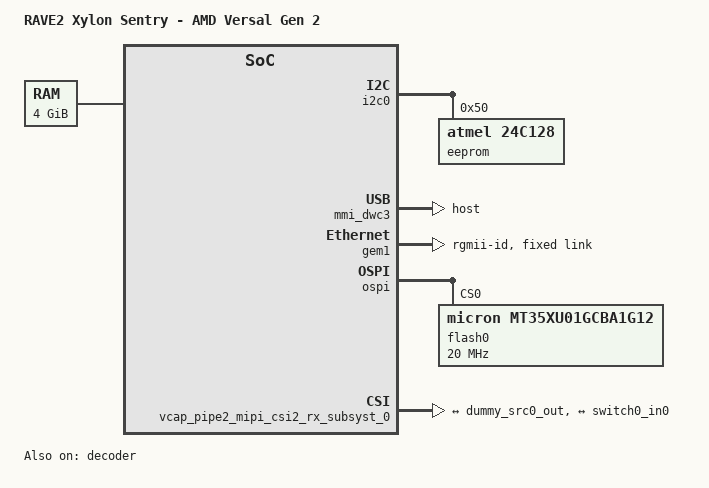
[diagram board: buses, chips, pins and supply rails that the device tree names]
// Copyright © Advanced Micro Devices, Inc., or its affiliates. All rights reserved.
// Copyright (C) 2015-2024 Texas Instruments Incorporated - https://www.ti.com/
// SPDX-License-Identifier: MIT AND BSD-2-Clause
// Contributors: LT
// Maintainer: LT
// DP83867 constants copied from Linux include/dt-bindings/net/ti-dp83867.h
// (GPL-2.0-only OR MIT); MIT selected. GPIO_ACTIVE_LOW copied from
// include/dt-bindings/gpio/gpio.h (GPL-2.0 OR BSD-2-Clause); BSD-2-Clause selected.
#define DP83867_RGMIIDCTL_250_PS        0x0
#define DP83867_RGMIIDCTL_500_PS        0x1
#define DP83867_RGMIIDCTL_750_PS        0x2
#define DP83867_RGMIIDCTL_1_NS          0x3
#define DP83867_RGMIIDCTL_1_25_NS       0x4
#define DP83867_RGMIIDCTL_1_50_NS       0x5
#define DP83867_RGMIIDCTL_1_75_NS       0x6
#define DP83867_RGMIIDCTL_2_00_NS       0x7
#define DP83867_RGMIIDCTL_2_25_NS       0x8
#define DP83867_RGMIIDCTL_2_50_NS       0x9
#define DP83867_RGMIIDCTL_2_75_NS       0xa
#define DP83867_RGMIIDCTL_3_00_NS       0xb
#define DP83867_RGMIIDCTL_3_25_NS       0xc
#define DP83867_RGMIIDCTL_3_50_NS       0xd
#define DP83867_RGMIIDCTL_3_75_NS       0xe
#define DP83867_RGMIIDCTL_4_00_NS       0xf

#define   DP83867_PHYCR_FIFO_DEPTH_4_B_NIB  0x01
#define   GPIO_ACTIVE_LOW 1



/ {
        model = "RAVE2 Xylon Sentry - AMD Versal Gen 2";
		compatible = "amd,versal2";
		chosen {
			stdout-path = "serial0:115200n8";
			/*
			 * CMA SIZING RULE -- the default CMA area is carved out of LOW DDR by the
			 * `cma=` value below (this board cannot use linux,cma-default: the DT pool
			 * must stay at 0x800000000 for ald3xx.fw, and setting both makes
			 * rmem_cma_setup() bypass the DT node -> ZERO CMA).
			 *
			 * So cma= must fit the largest remaining contiguous low-DDR hole.  Add a
			 * big low-DDR no-map carveout and you MUST shrink cma= to match, else:
			 *     cma: Failed to reserve N MiB
			 *     [drm] Failed to initialize the cma mem reserved nodes
			 *     modetest: failed to create dumb buffer: Cannot allocate memory
			 *
			 * rave2-imx623 hit exactly this: aie_remap_shadow@40000000 (256 MB) took
			 * the hole the comment below calls "~0x40000000", leaving 128 MB as the
			 * largest, so cma= dropped 256M -> 96M there.  1920x1080 XR24 dumb buffers
			 * are 8 MB each, so 96 MB is ample.
			 * Check free holes with `lmb_dump_all` (U-Boot `bdinfo`) after any change.
			 */
			bootargs = "earlycon=pl011,mmio32,0xf1920000 console=ttyAMA0,115200 cma=256M iomem=relaxed";
			xen_bootargs = "console=dtuart dtuart=serial0 dom0_mem=2500M dom0_max_vcpus=1 bootscrub=0 vwfi=native";
			dom0_bootargs = "console=hvc0 earlycon=xen earlyprintk=xen clk_ignore_unused cma=256M";
		};
		/*
		* Device tree reserved-memory fragment for ERICA-E face motion system.
		*
		* Memory layout (both RAVE2 and VEK385):
		*
		*   0x50000000 - 0x5007FFFF  (512 KB)   R52 firmware code/data
		*   0x50100000 - 0x6FCFFFFF  (508 MB)   Visualization capture circular buffers
		*     CH0: 0x50100000 - 0x57FFFFFF      (127 MB, 96 frames x 1.32 MB NV12)
		*     CH1: 0x58000000 - 0x5FEFFFFF      (127 MB)
		*     CH2: 0x5FF00000 - 0x67DFFFFF      (127 MB)
		*     CH3: 0x67E00000 - 0x6FCFFFFF      (127 MB)
		*   0x70000000 - 0x700FFFFF  (1 MB)     sentry_shared: A78 <-> R52 headers
		*     ISP flag:      0x70000000         (one word; the rest of the 64 KB is free)
		*     Wake rings:    0x70010000         (64 KB, R52 Ethernet wake channel)
		*     Settings:      0x70020000         (sentry_cfg, VCTL, DETQ, reserved: 4 KB each)
		*     free:          0x70024000         (48 KB)
		*     Codec header:  0x70038000         (codec_shared_header_t, "CDEC")
		*     Shared header: 0x70030000         (4 KB, capture_shared_header_t)
		*     YOLO results:  0x70040000         (4 KB, yolo_shared_header_t, A78->R52)
		*   0x70400000 - 0x773FFFFF  (112 MB)   NPU CMA pool (all xdna-driver BOs)
		*   0x77400000 - 0x77FFFFFF  (12 MB)    Ping-pong alternate DMA buffer
		*
		* NOTE: U-Boot scriptaddr is at 0x78000000 (common default).
		* Pingpong region ends at 0x77FFFFFF to avoid overlap.
		* If U-Boot loads images at 0x54000000 (default image_addr), this
		* overlaps the capture region. Update U-Boot env, e.g.:
		*   setenv image_addr 0x18000000
		*   setenv kernel_addr 0x18000000
		*
		* Include this file from the top-level device tree:
		*   /include/ "device_tree_reserved_memory.dtsi"
		*/
		reserved-memory {
			#address-cells = <0x2>;
			#size-cells = <0x2>;
			ranges;

			/delete-node/ cma_reserved@800000000;
			// Used to reserve memory for VCU
			/*
			 * 2026-04-28 DEBUG BUILD: shrunk CMA pool to match the
			 * reduced-DDR Vivado config (rave2_reduced_ddr.tcl which
			 * dropped C1/C2/C3 LPDDR5X controllers, leaving only
			 * NoC_C0_C1 with 2GB @ 0x0 + 2GB @ 0x800000000 = 4GB total).
			 *
			 * The original 3GB (0xC0000000) reservation at 0x800000000
			 * extended past the end of physical DRAM (only 2GB now lives
			 * in the high bank), causing cma_init_reserved_areas() to
			 * walk into an unmapped vmemmap region and panic with a
			 * level-2 translation fault on first boot.
			 *
			 * Shrunk to 1GB to fit comfortably inside the 2GB high bank
			 * and leave room for kernel allocations there. Revert to the
			 * original 3GB/0xC0000000 size when the full 4-controller
			 * DDR config is restored.
			 *
			 * ORIGINAL (full-DDR config, restore later):
			 *   reg = <0x8 0x0 0x0 0xC0000000>;   // 3 GB CMA
			 */
			shared_dma_reserved: shared_dma_mem_region {
				compatible = "shared-dma-pool";
				reg = <0x8 0x0 0x0 0x2c000000>;  /* 704 MB CMA (VCU/ALD3); ends at 0x82c000000 where codec_preroll begins */
				//linux,cma-default;
				reusable;
			};

			/*
			 * 2026-04-28 DEBUG BUILD: override the auto-generated
			 * memory@00000000 node to advertise only the DRAM that the
			 * reduced-DDR BD actually provisions. Without this, the
			 * SDT-emitted node still claims 14GB at 0x800000000 (the
			 * old 4-controller layout) and the kernel touches PFNs that
			 * have no backing struct page.
			 *
			 * ORIGINAL auto-generated reg (full-DDR config, restore later):
			 *   reg = <0x0 0x00000000 0x0 0x80000000     // 2 GB low
			 *          0x8 0x00000000 0x3 0x80000000>;   // 14 GB high
			 */

			/*
			* R52 baremetal firmware region.
			* The R52 linker script places code/data starting at 0x50000000.
			* Marked no-map so Linux does not touch this memory.
			*/
			r52_firmware: r52_fw@50000000 {
				reg = <0x0 0x50000000 0x0 0x00080000>;  /* 512 KB */
				no-map;
			};

			/*
			* Visualization DMA capture circular buffers.
			* 4 channels x 127 MB (96 frames @ 1280x720 NV12 each).
			* The R52 firmware writes frames here; the A78 reads via /dev/mem
			* and the capture_extract tool extracts to MP4.
			*
			* Region spans 0x50100000 to 0x6FD00000 (508 MB).
			* Rounded up to cover the gap from r52_fw to the sentry_shared region.
			*/
			capture_buffers: capture_buf@50100000 {
				reg = <0x0 0x50100000 0x0 0x1FC00000>;  /* 508 MB */
				no-map;
			};

			/*
			* A78 <-> R52 shared headers.
			*
			* Every occupant is a FIXED ABSOLUTE address compiled into both sides
			* (capture_shared.h, codec_shared.h, yolo_shared.h, power_shared.h), so the
			* base and size of this node must not move.
			*
			*   0x70000000 : ISP master flag word; the rest of the 64 KB is free
			*   0x70010000 : R52 Ethernet wake channel rings and buffers (64 KB)
			*   0x70020000 : sentry_cfg detection settings page   A78 <-> R52
			*   0x70021000 : VCTL encoder runtime control page    A78 <-> R52
			*   0x70022000 : DETQ per-camera detection edges      R52  -> A78
			*   0x70023000 : reserved for a cross-core wake mailbox
			*   0x70024000 : free
			*   0x70030000 : capture_shared_header_t  "CAPT"  R52  -> A78
			*   0x70038000 : codec_shared_header_t    "CDEC"  R52 <-> A78
			*   0x70040000 : yolo_shared_header_t     "YOLO"  R52  -> A78 (seqlock)
			*   0x70048000 : free           (was the NPU ping-pong flag)
			*   0x70050000 : power_shared_header_t    "PWRS"  A78 <-> R52
			*   0x70050800 : PWRX power extension block           A78 <-> R52
			*   0x70070000 : sentry status words
			*   0x70080000 : ISP command staging, scripts/stage_isp_cmds.py (spare tail)
			*
			* Total: 1 MB covers 0x70000000 - 0x700FFFFF.
			*
			* Was named finn_buffer/finn_buf until 2026-08-31.  No sentry BD has a FINN
			* subsystem any more (no post_proc/DMA36/DMA40 cell in any of the four
			* bd.tcl), so the old name described hardware that no longer exists.
			*/
			sentry_shared: sentry_shared@70000000 {
				reg = <0x0 0x70000000 0x0 0x00100000>;  /* 1 MB */
				no-map;
			};

			/*
			* RPU-owned NPU image.  The R52 sentry app stages the pre-built HSA image
			* here (queue, completion words, control code, weights, input tensor and the
			* four classifier output heads) and drives the AIE manager over shmem+IPI.
			* Offsets within the region are fixed -- see ERICA-E app/R52/src/npu_image.h.
			*
			* WAS a `shared-dma-pool` bound to telluride_drm so the amdxdna driver could
			* allocate the model's BOs.  It MUST be no-map now: a reusable pool lets
			* Linux hand out pages the NPU is mid-inference on.  telluride_drm is
			* disabled below for the same reason.
			*
			* All four sentry targets use this base.  The bring-up base 0x28000000 is
			* limo_buf (ISP NV12 staging) on the imx623 BDs, so it cannot be shared.
			*
			* 112 MB against ~61 MB needed by the 4-head YOLOv8n classifier; the top is
			* constrained by U-Boot scriptaddr at 0x78000000.
			*/
			npu_buffers: npu_pool@70400000 {
				reg = <0x0 0x70400000 0x0 0x07000000>;  /* 112 MB, 4MB-aligned for CMA */
				no-map;
			};

			/*
			* Ping-pong double-buffer for DMA/NPU decoupling.
			* erica_vid_dma writes alternate frames here while NPU
			* reads from the primary input BO in npu_pool.
			* Also used as format-17 NCHW scratch when ping-pong
			* is not active (both are never used simultaneously).
			*
			* DDR flag at 0x70048000 (within sentry_shared) tracks
			* which buffer was last written: 0=A ready, 1=B ready.
			*/
			pingpong_buffer: pingpong_buf@77400000 {
				reg = <0x0 0x77400000 0x0 0x00C00000>;  /* 12 MB */
				no-map;
			};
		};

		/*
		 * 2026-04-28 DEBUG BUILD: override the auto-generated
		 * memory@00000000 node to advertise only the DRAM that the
		 * reduced-DDR BD (rave2_reduced_ddr.tcl) actually provisions.
		 *
		 * The reduced BD only assigns DDR_CH0_LEGACY (2GB @ 0x0) and
		 * DDR_CH0_MED (2GB @ 0x800000000) -- total 4GB. The SDT-emitted
		 * node still claims 14GB at 0x800000000 from the old 4-controller
		 * layout; without this override the kernel walks PFNs that have
		 * no backing struct page and panics in cma_init_reserved_areas().
		 *
		 * ORIGINAL auto-generated reg (full-DDR config, restore later):
		 *   reg = <0x0 0x00000000 0x0 0x80000000      // 2 GB low
		 *          0x8 0x00000000 0x3 0x80000000>;    // 14 GB high
		 */
		memory@00000000 {
			device_type = "memory";
			reg = <0x0 0x00000000 0x0 0x80000000>,    /* 2 GB low  */
			      <0x8 0x00000000 0x0 0x80000000>;    /* 2 GB high */
		};
        aliases {
		spi0 = "/axi/spi@f1010000";
		/*
		 * The base /aliases block leaves ethernet0 blank.  Without it U-Boot
		 * cannot hand the EEPROM MAC to the kernel's GEM node, and systemd
		 * cannot name the port end0 (the name the sentry networkd
		 * configuration and the daemon's --net-if use), so it stays eth0.
		 */
		ethernet0 = "/axi/ethernet@f1a70000";
		/* U-Boot (board/xilinx/common) reads the board MAC from nvmem* aliases. */
		nvmem0 = &eeprom;
	};
};

&i2c0 {
        /* SCL bus speed: 100 kHz standard-mode (was incorrectly 160 MHz) */
        xlnx,i2c-clk-freq-hz = <0x186A0>;
        #address-cells = <1>;
        #size-cells = <0>;
        eeprom: eeprom@50 {
                compatible = "atmel,24c128";
                bootph-all;
                reg = <0x50>;
        };
};

&gpio0 {
        status = "okay";
};

&mmi_dwc3 {
        dr_mode = "host";
        maximum-speed = "super-speed";
        dma-coherent;
        snps,dis_u2_susphy_quirk;
        snps,dis_u3_susphy_quirk;
        snps,usb3_lpm_capable;
};


&gem1 { /* PMC_MIO_48, LPD_MIO0-11/24/25 */
 /*       phy-handle = <&phy1>; */
        phy-mode = "rgmii-id";
 /* MDIO doesnt work from ospi - so fixed link for now */
 /*       mdio: mdio { */
 /*               #address-cells = <1>; */
 /*               #size-cells = <0>; */
 /*               phy1: ethernet-phy@0 {  */
 /*                       #phy-cells = <1>; */
 /*                       compatible = "ethernet-phy-id2000.a231"; */
 /*                       reg = <0>; */
 /*                       ti,rx-internal-delay = <DP83867_RGMIIDCTL_3_00_NS>; */
 /*                       ti,tx-internal-delay = <DP83867_RGMIIDCTL_2_75_NS>; */
 /*                       ti,fifo-depth = <1>; */
 /*                       ti,dp83867-rxctrl-strap-quirk; */
 /*                       reset-assert-us = <100>; */
 /*                       reset-deassert-us = <280>; */
 /*                       reset-gpios = <&gpio0 25 GPIO_ACTIVE_LOW>; */
 /*               }; */
 /*        }; */
        fixed-link { 
                pause; 
                full-duplex; 
                speed = <1000>; 
        };
};


&ospi { /* PMC_MIO0-10, MIO12 */
        reset-names = "qspi";
        #address-cells = <1>;
        #size-cells = <0>;

	flash0: flash@0 {
		compatible = "micron,mt35xu01gcba1g12", "micron,mt35xu01g", "jedec,spi-nor";
		reg = <0>;
		spi-tx-bus-width = <8>;
		spi-rx-bus-width = <8>;
		spi-max-frequency = <20000000>;
		no-wp;
		spi-nor,octal-dtr-enable;
		boot,primary;
	};
};

&mmi_10gbe {
        status = "disabled";
};

&amba_pl {
	telluride_drm {
		compatible = "xlnx,aiarm";
		status = "disabled";
	};
        // Using a flexible dummy sensor driver for CSI-2 connection
        vid_capture_dummy_src_0: dummy_src_0@0 {
                compatible = "xlnx,dummy_src";
                clock-names = "ap_clk";
                clocks = <&misc_clk_2>;
                xlnx,max-height = <2160>;
                xlnx,max-width = <8192>;
                xlnx,ppc = <4>;
                xlnx,s-axi-ctrl-addr-width = <8>;
                xlnx,s-axi-ctrl-data-width = <32>;
                ports {
                        #address-cells = <1>;
                        #size-cells = <0>;
                        port@0 {
                                reg = <0>;
                                xlnx,video-format = <0>;
                                xlnx,video-width = <8>;
                                dummy_src0_out: endpoint {
                                        remote-endpoint = <&csiss0_in>;
                                };
                        };
                };
	};
};

// ================================================================
// DMA instances -- overlay on SDT-generated nodes (& syntax)
//
// The SDT already provides reg, clocks, xlnx,* properties.
// We only add: compatible (our driver), interrupts (SDT has wrong
// bit numbers), #dma-cells, and fwnode graph ports for upstream
// subdev discovery.
// ================================================================

// DMA0 @ 0xB0000000
&vcap_pipe2_axi4s_vid_dma_0 {
	compatible = "sentry,erica-vid-dma", "xlnx,axi4s-vid-dma-1.0";
	interrupts = <0xb 0x2>;
	#dma-cells = <0x1>;
	ports {
		#address-cells = <1>;
		#size-cells = <0>;
		port@0 {
			reg = <0>;
			dma0_in: endpoint {
				remote-endpoint = <&switch0_out0>;
			};
		};
	};
};

// DMA1 @ 0xB0001000
&vcap_pipe2_axi4s_vid_dma_1 {
	compatible = "sentry,erica-vid-dma", "xlnx,axi4s-vid-dma-1.0";
	interrupts = <0xc 0x2>;
	#dma-cells = <0x1>;
	ports {
		#address-cells = <1>;
		#size-cells = <0>;
		port@0 {
			reg = <0>;
			dma1_in: endpoint {
				remote-endpoint = <&switch0_out1>;
			};
		};
	};
};

// DMA2 @ 0xB0002000
&vcap_pipe2_axi4s_vid_dma_2 {
	compatible = "sentry,erica-vid-dma", "xlnx,axi4s-vid-dma-1.0";
	interrupts = <0xd 0x2>;
	#dma-cells = <0x1>;
	ports {
		#address-cells = <1>;
		#size-cells = <0>;
		port@0 {
			reg = <0>;
			dma2_in: endpoint {
				remote-endpoint = <&switch0_out2>;
			};
		};
	};
};

// DMA3 @ 0xB0003000
&vcap_pipe2_axi4s_vid_dma_3 {
	compatible = "sentry,erica-vid-dma", "xlnx,axi4s-vid-dma-1.0";
	interrupts = <0xe 0x2>;
	#dma-cells = <0x1>;
	ports {
		#address-cells = <1>;
		#size-cells = <0>;
		port@0 {
			reg = <0>;
			dma3_in: endpoint {
				remote-endpoint = <&switch0_out3>;
			};
		};
	};
};

// ================================================================
// Visualization DMA instances -- 1280x720 YUV420
//
// Fed from broadcaster M03 -> axi4s_down_scale_csc -> DMA
// (standalone capture devices, not part of V4L2 media graph)
// ================================================================

// Viz DMA4 @ 0xB0008000  (CH0 visualization)
&vcap_pipe2_axi4s_vid_dma_4 {
	compatible = "sentry,erica-vid-dma", "xlnx,axi4s-vid-dma-1.0";
	interrupts = <0x10 0x2>;
	#dma-cells = <0x1>;
};

// Viz DMA5 @ 0xB0009000  (CH1 visualization)
&vcap_pipe2_axi4s_vid_dma_5 {
	compatible = "sentry,erica-vid-dma", "xlnx,axi4s-vid-dma-1.0";
	interrupts = <0xf 0x2>;
	#dma-cells = <0x1>;
};

// Viz DMA6 @ 0xB000A000  (CH2 visualization)
&vcap_pipe2_axi4s_vid_dma_6 {
	compatible = "sentry,erica-vid-dma", "xlnx,axi4s-vid-dma-1.0";
	interrupts = <0x11 0x2>;
	#dma-cells = <0x1>;
};

// Viz DMA7 @ 0xB000B000  (CH3 visualization)
&vcap_pipe2_axi4s_vid_dma_7 {
	compatible = "sentry,erica-vid-dma", "xlnx,axi4s-vid-dma-1.0";
	interrupts = <0x12 0x2>;
	#dma-cells = <0x1>;
};

// Set the CSI-2 RX to use YUV422 video format
// This is DPHY 0 on IOB
&vcap_pipe2_mipi_csi2_rx_subsyst_0 {
	xlnx,csi-pxl-format = <0x1e>; //YUV
        status = "okay";
	video-reset-gpios = <&axi_gpio_rst 0xa 0x1>;
        interrupts = <0xa 0x2>;
	ports {
		#address-cells = <1>;
		#size-cells = <0>;

		port@0 {
			reg = <0>;

			xlnx,video-format = <0>;
			xlnx,video-width = <8>;

			csiss0_in: endpoint {
				data-lanes = <1 2 3 4>;
				remote-endpoint = <&dummy_src0_out>;
			};
		};
		port@1 {
			reg = <1>;

			xlnx,video-format = <0>;
			xlnx,video-width = <8>;

			csiss0_out: endpoint {
				remote-endpoint = <&switch0_in0>;
			};
		};
	};

};

// Axis switch -- SDT does not generate compatible, clocks, or routing props
&vcap_pipe2_axis_switch_0 {
	compatible = "xlnx,axis-switch-1.1";
	xlnx,routing-mode = <0x0>;
	xlnx,num-si-slots = <0x1>;
	xlnx,num-mi-slots = <0x4>;
	clock-names = "aclk";
	clocks = <&misc_clk_2>;
	ports {
	#address-cells = <1>;
	#size-cells = <0>;
		port@0 {
			reg = <0>;
			xlnx,video-format = <0>;
			xlnx,video-width = <8>;
			switch0_in0: endpoint {
				remote-endpoint = <&csiss0_out>;
			};
		};
		port@1 {
			reg = <1>;
			xlnx,video-format = <0>;
			xlnx,video-width = <8>;
			switch0_out0: endpoint {
				remote-endpoint = <&dma0_in>;
			};
		};
		port@2 {
			reg = <2>;
			xlnx,video-format = <0>;
			xlnx,video-width = <8>;
			switch0_out1: endpoint {
				remote-endpoint = <&dma1_in>;
			};
		};
                port@3 {
			reg = <3>;
			xlnx,video-format = <0>;
			xlnx,video-width = <8>;
			switch0_out2: endpoint {
				remote-endpoint = <&dma2_in>;
			};
		};
                port@4 {
			reg = <4>;
			xlnx,video-format = <0>;
			xlnx,video-width = <8>;
			switch0_out3: endpoint {
				remote-endpoint = <&dma3_in>;
			};
		};
	};

};


// ================================================================
// VCU -- the SDT mis-maps these interrupts.
//
// bd.tcl truth, identical on all four machines: vcu/irq_enc -> concat In8 and
// vcu/irq_dec -> In7, and that concat drives axi_intc_0.  The SDT instead
// parents them to &gic while keeping the INTC line number, so 8 lands in the
// GIC's 3-cell "type" slot (valid values 0=SPI, 1=PPI) and the mapping is
// rejected: "IRQ index 0 not found", probe -EINVAL, no encoder.
// ================================================================
// OWNERSHIP: the R52 VCU controller drives the Allegro encoder MCU directly
// through the NSU, and only one master may own that MCU.  Disabled here so
// Linux's al_riscv never binds, matching the other three sentry machines --
// all four are meant to behave identically from a VCU/NPU perspective.
// Nothing in the sentry stack decodes on the A78, so the decoder goes too.
&encoder {
	interrupt-parent = <&axi_intc_0>;
	interrupts = <0x8 0x4>;
	/* Without this the driver falls back to CMA and the encoder MCU never
	 * starts ("MCU 0: Failed to start"); the decoder only works because the
	 * SDT already gives it this pool.  Kept even while disabled so re-enabling
	 * is a one-line change. */
	memory-region = <&shared_dma_reserved>;
	status = "disabled";
};
// The DECODER is enabled while the encoder above stays disabled. Only the
// encoder MCU is contended: the R52 VCU controller drives it through the NSU
// and one master must own it. The decoder is a separate block -- ald3xx at
// 0xE8080000, compatible "al,ald3xx", its own mcu-clk, no shared reset or
// power-domain -- that the R52 never touches.
//
// It is enabled because the A78 deterrent player decodes H.264 through
// GStreamer omxh264dec, which opens /dev/al_d3xx. That node comes from THIS
// block (al,devicename = "al_d3xx"); the encoder's is "al_e2xx". With the
// decoder disabled omxh264dec fails with "Failed to create context" and the
// player silently falls back to software decode, which is the dominant CPU
// cost of running deterrent mode.
&decoder {
	interrupt-parent = <&axi_intc_0>;
	interrupts = <0x7 0x4>;
	memory-region = <&shared_dma_reserved>;
	status = "okay";
};

// AI Engine aperture: fix power-domains phandle (SDT generates wrong reference)
// and override interrupt mapping
&aie_aperture_0 {
	interrupts = <0x00 0xce 0x04 0x00 0xcf 0x04 0x00 0xd0 0x04>;
};

// ================================================================
// Keep Linux off the AI Engine: it fights the R52 for GIC SPI 206/207/208.
//
// aie_aperture_0 above maps AIE NPI SPIs 206/207/208 as Linux interrupts, and
// the R52_0 AIE manager claims the SAME lines:
//     rpu_fw_sentry/app/src/hal/aie2ps.c
//         #define AIE2PS_NPI_ERR_SPI 206   // GIC IRQ 238
//         #define AIE2PS_NPI_USR_SPI 207   // GIC IRQ 239
//
// With ai_engine_0 enabled, xilinx-ai-engine probes on the A78 and requests
// those same SPIs, so Linux and the R52 both own them.
//
// Diagnosed on vek385-imx623 (2026-09-09), applied to both vek385 machines in
// 296e4e6, and applied here because this board runs the same R52 AIE manager
// against the same NPI SPIs.  Nothing on the A78 needs the node -- the HSA
// image is staged via /dev/mem over the npu_pool no-map carveout and the
// manager is booted through remoteproc.
//
// The array itself is NOT in FPD (it is the ME2 domain on PM_POWER_VCCINT_ME),
// so disabling the Linux node does not risk leaving it unpowered.
// ================================================================
&ai_engine_0 {
	status = "disabled";
};

// ================================================================
// RTC calibration.  The SDT emits no `calibration` on the Linux rtc node, so
// zynqmp-rtc leaves CALIB_WRITE at the ROM default 0x10010 = 17 ticks/second
// -> the seconds counter runs at 32768/17 = 1928 Hz instead of 1 Hz, and every
// R52 alarm delay is meaningless.  0x7fff = 32768 ticks = 1 Hz, matching the
// value already present in the cortexr52-1 baremetal view of the same node.
// ================================================================
&rtc {
	calibration = <0x7fff>;
};

// Sentry drives one SST stream; the driver treats any xlnx,mst-mode-en value, <0> included, as MST enabled, so the property must be absent.
&mmi_dptx {
	/delete-property/ xlnx,mst-mode-en;
};

// ================================================================
// IPI wakeup-source — enables suspend-to-RAM wake via R52 doorbell
// Without this, only s2idle (WFI) works, not full S2RAM power-down.
//
// Also add RPU (ipi-id=3) as a mailbox child so the Linux
// zynqmp-ipi-mailbox driver unmasks bit 3 in APU's IPI IMR.
// Without this, RPU doorbell sets APU ISR but the SPI output
// stays low (masked) and GIC Wakeup Controller never fires.
// R52 firmware also unmasks bit 3 directly as belt-and-suspenders.
// ================================================================
&{/zynqmp-ipi} {
	wakeup-source;

	// RPU IPI mailbox — allows R52 doorbell wake from deep suspend
	// Buffer addresses: RPU(ch3)->APU(ch2) request = 0xEB3F0680
	//                   APU(ch2)->RPU(ch3) request = 0xEB3F04C0
	mailbox@eb3f0680 {
		reg = <0x00 0xeb3f04c0 0x00 0x20
		       0x00 0xeb3f04e0 0x00 0x20
		       0x00 0xeb3f0680 0x00 0x20
		       0x00 0xeb3f06a0 0x00 0x20>;
		reg-names = "local_request_region",
			    "local_response_region",
			    "remote_request_region",
			    "remote_response_region";
		#mbox-cells = <0x01>;
		xlnx,ipi-id = <0x03>;
	};
};

// ================================================================
// Remoteproc — R52 baremetal firmware loading via Linux remoteproc
//
// The RAVE2 base cortexa78-linux.dts (from SDT) does NOT include
// a remoteproc node, so we must define the full node here.
//
// Address 0xEBA00000 = R52 cluster A, core 0 (r52_0a, ps11_0_cortexr52_0).
// This matches the VEK385 base DTS remoteproc@eba00000 but with
// memory-region pointing to our sentry firmware carveout at 0x50000000.
//
// Power-domain IDs match the Versal Gen 2 silicon (same as VEK385):
//   0x181100bf = PM_DEV_RPU_A_0 (R52 cluster A, core 0)
//   0x183180cb = PM_DEV_TCM_A_0A (ATCM)
//   0x183180cc = PM_DEV_TCM_A_0B (BTCM)
//   0x183180cd = PM_DEV_TCM_A_0C (CTCM)
//
// Usage from Linux:
//   cp sentry_r52.elf /lib/firmware/
//   echo sentry_r52.elf > /sys/class/remoteproc/remoteproc0/firmware
//   echo start > /sys/class/remoteproc/remoteproc0/state
// ================================================================
/ {
	/* TCM reserved-memory for R52 core 0 (remoteproc driver needs these) */
	reserved-memory {
		#address-cells = <0x2>;
		#size-cells = <0x2>;
		ranges;

		tcm_r52_0: r52_0_tcm@eba00000 {
			no-map;
			reg = <0x00 0xeba00000 0x00 0x30000>;  /* 192KB: ATCM+BTCM+CTCM */
		};
	};

	remoteproc@eba00000 {
		compatible = "xlnx,versal-net-r52fss";
		#address-cells = <0x02>;
		#size-cells = <0x02>;
		xlnx,cluster-mode = <0x00>;
		ranges = <0x00 0x00 0x00 0xeba00000 0x00 0x10000
			  0x00 0x10000 0x00 0xeba10000 0x00 0x8000
			  0x00 0x18000 0x00 0xeba20000 0x00 0x8000>;

		r52f@0 {
			compatible = "xlnx,versal2-r52f";
			power-domains = <&versal2_firmware 0x181100bf>,
					<&versal2_firmware 0x183180cb>,
					<&versal2_firmware 0x183180cc>,
					<&versal2_firmware 0x183180cd>;
			reg = <0x00 0x00 0x00 0x10000
			       0x00 0x10000 0x00 0x8000
			       0x00 0x18000 0x00 0x8000>;
			reg-names = "r52_0a_atcm_global@eba00000",
				    "r52_0a_btcm_global@eba10000",
				    "r52_0a_ctcm_global@eba20000";
			memory-region = <&aie_mgr_fw>, <&r52_firmware>;  /* AIE manager first: R52_0 runs it, not the detection ELF */
		};
	};
};

// ---------------------------------------------------------------
// Encoder source frames. On the imx623 machines this is the ISP's limo_buf;
// the xylon pipeline has no ISP, so the 1928x1208 NV12 writers are pointed
// here instead. The address is what the R52 firmware expects
// (VCU2_SRC_EXTERN_BASE), 32 MB per channel x 4.
// ---------------------------------------------------------------
/ {
	reserved-memory {
		#address-cells = <0x2>;
		#size-cells = <0x2>;
		ranges;

		codec_src_buffers: codec_src_buf@28000000 {
			reg = <0x0 0x28000000 0x0 0x08000000>;  /* 128 MB: 4 x 32 MB encoder source slots */
			no-map;
		};

		/* Coded pre-roll ring, written by the VCU2 encoder itself. The R52 is
		 * deliberately excluded from this segment and never touches the
		 * bitstream; only the A78 reads it. */
		/*
		 * Split by the encoder's channel plan (ERICA-E_rpu_vcu_sw vcu2_plan.h); the
		 * node itself is the same for every plan.
		 *   four camera channels only:  4 x 160 MB rings, 256 KB slots
		 *   plans with lower rungs:     +0x00000000  4 x 128 MB camera rings, 256 KB slots
		 *                               +0x20000000  4 x 16 MB lower-rung rings, 64 KB slots
		 *                               +0x24000000  64 MB source slots of the frames the
		 *                                            A78 composes (A78 writes, VCU2 reads)
		 */
		codec_preroll: codec_preroll@82c000000 {
			reg = <0x8 0x2c000000 0x0 0x28000000>;  /* 640 MB @ 0x82c000000: VCU2 coded access units */
			no-map;
		};
	};
};

// ================================================================
// RPU-driven VCU2 codec: R52_1 controller + its working memory.
//
// Mirrors rave2-imx623-sentry. Everything the 32-bit R52 has to address is in
// low DDR; the coded access units are NOT -- the encoder DMAs those straight
// into codec_preroll in high DDR, which the R52 cannot reach and never needs to.
//
// The two fixed addresses come from the firmware (vcu2_encoder.c):
//   VCU2_SRC_EXTERN_BASE  0x28000000
//   VCU2_STREAM_HIGH_BASE 0x8_2C000000
// ================================================================
/ {
	reserved-memory {
		#address-cells = <0x2>;
		#size-cells = <0x2>;
		ranges;

		/* TCM for R52_1 (r52_0b, RPU B0) so remoteproc reserves the ATCM+BTCM+CTCM window. */
		tcm_r52_1: r52_1_tcm@eba80000 {
			no-map;
			reg = <0x00 0xeba80000 0x00 0x30000>;  /* 192KB: ATCM+BTCM+CTCM */
		};

		/* DDR carveout for the R52_1 VCU-controller ELF (sentry-vcu-ctrl.elf).
		 * The Zephyr image links at 0x30000 with a ~2.9 MB footprint, so the
		 * carveout must cover 0x30000; 4 MB there. */
		r52_1_firmware: r52_1_fw@30000 {
			reg = <0x0 0x00030000 0x0 0x00400000>;  /* 4 MB */
			no-map;
		};

		/* 32 MB, not 8: ale2xx.fw links vaddr 0xC0000000..0xC2000000 and puts the
		 * H2M/M2H mailboxes near the top (+0x1FFB000), so a shorter window would
		 * put the mailbox rings inside the CMA carveout. */
		vcu2_fw: vcu2_fw@30000000 {
			reg = <0x0 0x30000000 0x0 0x02000000>;  /* 32 MB: FW image + H2M/M2H mailbox */
			no-map;
		};

		/* Overlaps the tail of vcu2_fw on purpose: the firmware allocator starts
		 * at 0x32000000, and drawing this node wider keeps 0x30000000..0x388900FF
		 * no-map in one piece. Two no-map nodes overlapping is harmless. */
		vcu2_cma: vcu2_cma@32000000 {
			reg = <0x0 0x32000000 0x0 0x06800000>;  /* 104 MB: CtrlSW CMA + bitstream out.
						 * Base/size MUST match VCU2_CMA_PHYS/VCU2_CMA_SIZE in
						 * r52-vcu-ctrl/examples/vcu2_app_example.c.  Starts where
						 * vcu2_fw ends (0x32000000) and ends exactly at
						 * vcu2_preroll_shared (0x38800000). */
			no-map;
		};

		/*
		 * Encoder controller <-> A78 structures (ERICA-E_rpu_vcu_sw include/):
		 *   0x38800000  VPRL pre-roll ring header, up to 8 channels  (vcu2_preroll.h)
		 *   0x38820000  submit ring 1, camera frames                 (vcu2_submit.h)
		 *   0x38830000  SDIR source directory, 8 channels x 7 slots
		 *   0x38840000  submit ring 2, frames the A78 composes
		 *   0x38848000  VCHM encoder channel map                     (vcu2_chmap.h)
		 *   0x3884A000  SGEN source-slot generations
		 *   0x38890000  controller debug words
		 * A controller restart clears 0x38820000..0x3889FFFF.
		 */
		vcu2_preroll_shared: vcu2_preroll_shared@38800000 {
			reg = <0x0 0x38800000 0x0 0x00100000>;  /* 1 MB: A78-visible pre-roll header */
			no-map;
		};

		/*
		 * NoC remap shadow -- this is NOT usable memory.
		 *
		 * bd.tcl sets CONFIG.REMAPS {M00_INI {{0x0_4000_0000 0x0_0200_0000_0000
		 * 0x10000000}}} on Master_NoC/M00_INI, the port that feeds ai_engine_0.
		 * Master_NoC/S08_AXI is ps_wizard_0/LPD_AXI_NOC0, so every LPD master -- gem1,
		 * USB, ADMA -- shares the R52s' remapped view: physical
		 * 0x40000000..0x4FFFFFFF reaches the AIE array, not DDR.
		 *
		 * Only the R52s are meant to use it.  They are exclude_bd_addr_seg'd from the
		 * AIE aperture at 0x200_0000_0000 (a 32-bit core cannot reach 2 TB), so this
		 * 256 MB alias is their only path to the array -- it is what the AIE manager
		 * firmware means by RPUFW_AIE2PS_BASE_ADDR=0x40000000.
		 *
		 * The A78 is NOT remapped and still sees real DRAM here.  That asymmetry is
		 * the hazard: a DMA buffer the kernel hands gem1 in this range is written by
		 * the CPU into DDR and fetched by the MAC out of the AIE.  The link comes up
		 * and passes no traffic.
		 *
		 * Verified by A/B on rave2-imx623 hardware 2026-08-31: booting a DTB with this
		 * node removed and cma=256M (so the default CMA lands on the window) gave no
		 * ping at all; restoring the node gave end0 up with 0 rx/tx errors.
		 *
		 * Consequences to keep in sync:
		 *   - `cma=` must fit a hole that is NOT this window (see chosen{} above).
		 *   - U-Boot fdt_addr_r must not point here, or lmb refuses every load and
		 *     the board dies with "Could not find a valid device tree".
		 *   - Must track the bd.tcl REMAPS window, base AND size.
		 */
		aie_remap_shadow: aie_remap_shadow@40000000 {
			reg = <0x0 0x40000000 0x0 0x10000000>;  /* 256 MB */
			no-map;
		};


		/* A78 <-> R52 AIE-manager shared-memory rings (no-map: the R52 and
		 * the A78 client map it directly; keep Linux allocators out).
		 * 2 clients x 0x18000: apu0_client @0xBBE00000, apu1_client @0xBBE18000
		 * (shmem_clients_cfg[] in the FW's shmem_platform.c). Each client is
		 * 3 x 32 KB: mgmt-rx, mgmt-tx, doorbell. OCM bank 2 is 0xBBE00000. */
		rpu_aie_shmem: rpu_aie_shmem@bbe00000 {
			no-map;
			reg = <0x0 0xBBE00000 0x0 0x30000>;     /* 192 KB (2 clients) */
		};

		/* AIE-manager firmware window for R52_0 (remoteproc@eba00000).
		 *
		 * The stock telluride rpu_fw links at 0x30000, which collides with
		 * r52_1_fw@30000 (sentry-vcu-ctrl.elf on R52_1) since both cores run
		 * concurrently. Our build relinks the image to 0x800000 via
		 * rpu_fw_sentry/sentry.overlay (&ddr_firmware) and keeps the
		 * reference's stock addresses for everything else, so this one window
		 * covers the lot:
		 *   0x430000  256 KB  dram_log_buf
		 *   0x470000  256 B   rsctbl        <- ELF LOAD segment
		 *   0x478000  288 KB  rpmsg_shmem   (unused, CONFIG_OPENAMP=n)
		 *   0x4C0000  3 MB    host_gem_carveout
		 *   0x800000  4 MB    firmware image <- ELF LOAD segments
		 */
		aie_mgr_fw: aie_mgr_fw@430000 {
			no-map;
			reg = <0x0 0x00430000 0x0 0x007D0000>;  /* 7.8 MB, ends 0x00C00000 */
		};

	};

	/* R52_1 is RPU cluster B core 0 (MPIDR 0x100, SMID 0x202); the core and
	 * its TCMs must belong to the same RPU.  The PLM powers up and releases
	 * the reset of whichever core owns a requested TCM bank, so requesting
	 * TCM_A_1x here brings RPU A core 1 up running from an empty TCM: it
	 * slides into this firmware at 0x30000 and writes over R52_1's stacks
	 * with SMID 0x201.  The firmware does not use its TCMs; the driver
	 * requires at least one bank per core. */
	remoteproc@eba80000 {
		compatible = "xlnx,versal-net-r52fss";
		#address-cells = <0x02>;
		#size-cells = <0x02>;
		xlnx,cluster-mode = <0x00>;
		ranges = <0x00 0x00 0x00 0xeba80000 0x00 0x10000
			  0x00 0x10000 0x00 0xeba90000 0x00 0x8000
			  0x00 0x18000 0x00 0xebaa0000 0x00 0x8000>;

		r52f@0 {
			compatible = "xlnx,versal2-r52f";
			power-domains = <&versal2_firmware 0x181100c1>,	/* PM_DEV_RPU_B_0 */
					<&versal2_firmware 0x183180d1>,	/* PM_DEV_TCM_B_0A */
					<&versal2_firmware 0x183180d2>,	/* PM_DEV_TCM_B_0B */
					<&versal2_firmware 0x183180d3>;	/* PM_DEV_TCM_B_0C */
			reg = <0x00 0x00 0x00 0x10000
			       0x00 0x10000 0x00 0x8000
			       0x00 0x18000 0x00 0x8000>;
			reg-names = "r52_0b_atcm_global@eba80000",
				    "r52_0b_btcm_global@eba90000",
				    "r52_0b_ctcm_global@ebaa0000";
			memory-region = <&r52_1_firmware>, <&r52_firmware>;  /* + the 0x50000000 window: sentry_r52_*.elf links there, sentry-vcu-ctrl.elf at 0x30000 */
		};
	};
};
